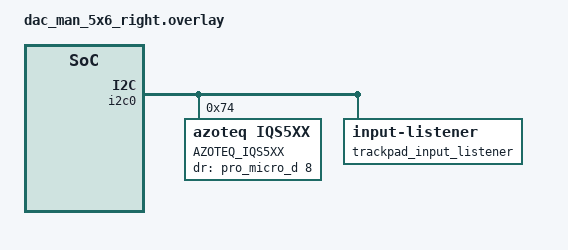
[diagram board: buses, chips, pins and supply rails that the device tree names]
#include "dac_man_5x6.dtsi"

&default_transform {
    col-offset = <6>;
};

/{

    chosen { // to read from trackpad.
        zmk,mouse = &trackpad;
    };

 kscan0: kscan {
    col-gpios
        = <&pro_micro_d 10 GPIO_ACTIVE_HIGH>
        , <&pro_micro_d 9 GPIO_ACTIVE_HIGH>
        , <&pro_micro_d 7 GPIO_ACTIVE_HIGH>
        , <&pro_micro_d 6 GPIO_ACTIVE_HIGH>
        , <&pro_micro_d 5 GPIO_ACTIVE_HIGH>
	    , <&pro_micro_d 4 GPIO_ACTIVE_HIGH>
        ;
    };
};

&i2c0 {
    status = "okay";

    trackpad: trackpad@74 {
        compatible = "azoteq,iqs5xx";
        label = "AZOTEQ_IQS5XX";
        status = "okay";
        reg = <0x74>;
        dr-gpios = <&pro_micro_d 8 GPIO_ACTIVE_HIGH>;
    };
     trackpad_input_listener: trackpad_input_listener {
            compatible = "zmk,input-listener";
            device = < &trackpad >;
        };
};
